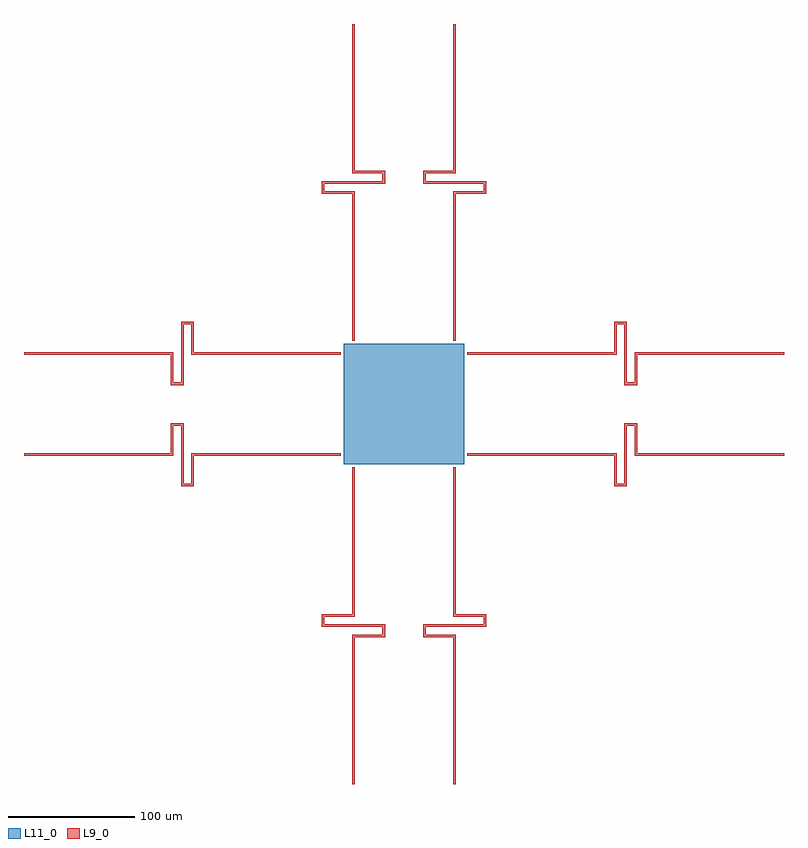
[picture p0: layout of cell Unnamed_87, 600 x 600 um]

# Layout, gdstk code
from math import pi, radians
import gdstk
lib = gdstk.Library(unit=1e-6, precision=1e-09)
def R(c, l, rs):  # rectangles x0, y0, x1, y1
    for r in rs: c.add(gdstk.rectangle(r[:2], r[2:], *l))
L9_0 = (9, 0)
L11_0 = (11, 0)

rectangle_s50_2_l9_0_cf_ = lib.new_cell('rectangle_S50_2_L9_0_CF_7b202ac9')
R(rectangle_s50_2_l9_0_cf_, L9_0, [(0,0,50,2)])

rectangle_s2_6_l9_0_cfa_ = lib.new_cell('rectangle_S2_6_L9_0_CFa_6e69fcce')
R(rectangle_s2_6_l9_0_cfa_, L9_0, [(0,0,2,6)])

rectangle_s26_2_l9_0_cf_ = lib.new_cell('rectangle_S26_2_L9_0_CF_7241b5a4')
R(rectangle_s26_2_l9_0_cf_, L9_0, [(0,0,26,2)])

rectangle_s2_116_l9_0_c_ = lib.new_cell('rectangle_S2_116_L9_0_C_2d5fca50')
R(rectangle_s2_116_l9_0_c_, L9_0, [(0,0,2,116)])

unnamed_88 = lib.new_cell('Unnamed_88')
unnamed_88.add(gdstk.Reference(rectangle_s50_2_l9_0_cf_, (-24,124)))
unnamed_88.add(gdstk.Reference(rectangle_s2_6_l9_0_cfa_, (24,118)))
unnamed_88.add(gdstk.Reference(rectangle_s2_6_l9_0_cfa_, (-24,126)))
unnamed_88.add(gdstk.Reference(rectangle_s26_2_l9_0_cf_, (0,116)))
unnamed_88.add(gdstk.Reference(rectangle_s26_2_l9_0_cf_, (-24,132)))
unnamed_88.add(gdstk.Reference(rectangle_s2_116_l9_0_c_, (0,0)))
unnamed_88.add(gdstk.Reference(rectangle_s2_116_l9_0_c_, (0,134)))

unnamed_89 = lib.new_cell('Unnamed_89')
unnamed_89.add(gdstk.Reference(unnamed_88, (41,-300), rotation=pi, x_reflection=True))
unnamed_89.add(gdstk.Reference(unnamed_88, (-41,-300)))

rectangle_s95_95_l11_0__ = lib.new_cell('rectangle_S95_95_L11_0__3836f13c')
R(rectangle_s95_95_l11_0__, L11_0, [(0,0,95,95)])

unnamed_87 = lib.new_cell('Unnamed_87')
unnamed_87.add(gdstk.Reference(unnamed_89, (0,0), x_reflection=True))
unnamed_87.add(gdstk.Reference(rectangle_s95_95_l11_0__, (-47.5,-47.5)))
unnamed_87.add(gdstk.Reference(unnamed_89, (0,0), rotation=pi/2))
unnamed_87.add(gdstk.Reference(unnamed_89, (0,0), rotation=3*pi/2))
unnamed_87.add(gdstk.Reference(unnamed_89, (0,0)))

lib.write_gds('Unnamed_87.gds')
